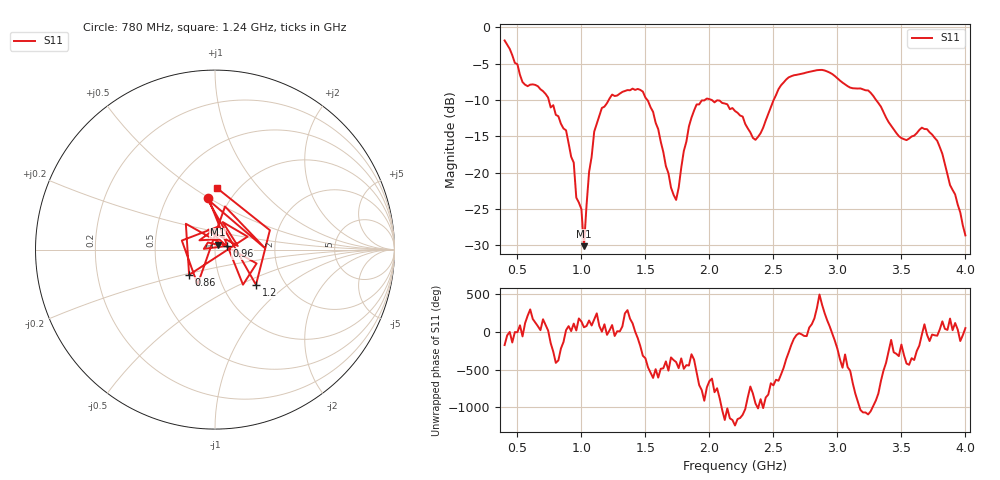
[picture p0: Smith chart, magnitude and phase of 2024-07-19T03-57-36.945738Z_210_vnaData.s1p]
!Created with skrf (http://scikit-rf.org).
# Hz S RI R 50.0
!freq ReS11 ImS11
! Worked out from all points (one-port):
!   181 points, 400 MHz to 4 GHz, reference 50 ohm
!   lowest |S11| = -30.1 dB at 1.02 GHz (marker M1), VSWR 1.06, Z = 51.5 + j2.77 ohm
!   |S11| at or under -10 dB: 744.9 MHz to 1.213 GHz (468.4 MHz wide, 47.8 % of centre); 2.019 GHz to 2.502 GHz (483.3 MHz wide, 21.4 % of centre); 3.302 GHz to end of sweep (the widest 3 of 4)
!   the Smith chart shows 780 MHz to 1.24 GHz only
!   S11 on the Smith chart (normalised r, x): 780 MHz: 0.79, +0.50; 860 MHz: 0.72, -0.21; 960 MHz: 1.14, +0.05; 1.2 GHz: 1.43, -0.62; 1.24 GHz: 0.80, +0.63
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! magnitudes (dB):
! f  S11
! 400 MHz  -1.8
! 540 MHz  -7.5
! 780 MHz  -10.7
! 860 MHz  -13.9
! 940 MHz  -18.6
! 960 MHz  -23.4
! 1 GHz  -25.0
! 1.02 GHz  -30.1
! 1.06 GHz  -19.9
! 1.1 GHz  -14.4
! 1.2 GHz  -10.4
! 1.24 GHz  -9.3
! 1.3 GHz  -9.1
! 1.48 GHz  -8.8
! 1.56 GHz  -11.6
! 1.72 GHz  -23.1
! 1.76 GHz  -22.1
! 1.84 GHz  -13.6
! 1.9 GHz  -10.6
! 2.2 GHz  -11.5
! 2.36 GHz  -15.5
! 2.54 GHz  -8.5
! 2.66 GHz  -6.6
! 3.1 GHz  -8.3
! 3.24 GHz  -8.7
! 3.56 GHz  -15.3
! 3.78 GHz  -15.6
! 4 GHz  -28.6
